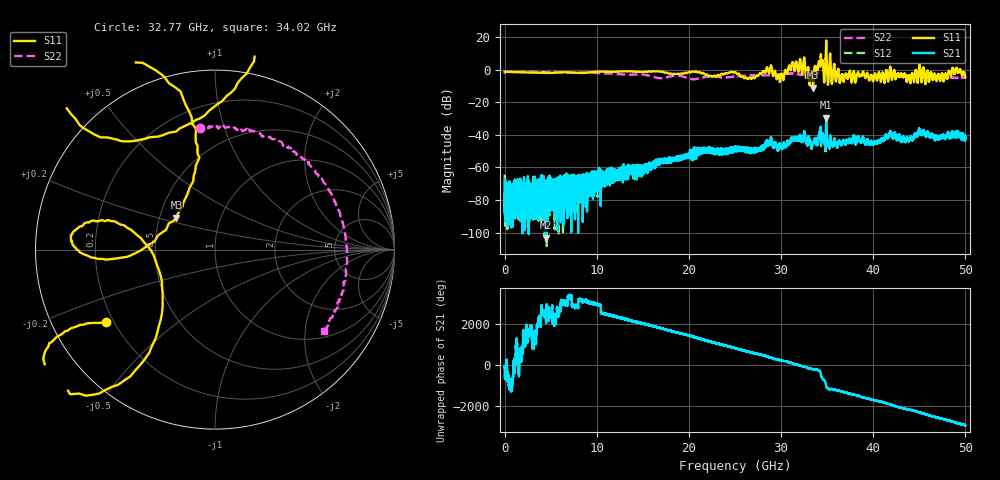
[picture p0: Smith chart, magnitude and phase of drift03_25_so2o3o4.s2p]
!Created with skrf (http://scikit-rf.org).
# Hz S RI R 50.0
!freq ReS11 ImS11 ReS21 ImS21 ReS12 ImS12 ReS22 ImS22
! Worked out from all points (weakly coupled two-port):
!   10001 points, 300 kHz to 50 GHz, reference 50 ohm
!   highest |S21| = -29.55 dB at 34.9 GHz (marker M1); lowest = -103.0 dB at 4.48 GHz (marker M2)
!   lowest |S11| = -11.1 dB at 33.47 GHz (marker M3), VSWR 1.77, Z = 30.6 + j11.8 ohm
!   |S11| at or under -10 dB: 33.44812 GHz to 33.48473 GHz (36.62 MHz wide, 0.109 % of centre)
!   |S22| runs from -5.9 to -1.3 dB; largest |S21 - S12| = 0.0077
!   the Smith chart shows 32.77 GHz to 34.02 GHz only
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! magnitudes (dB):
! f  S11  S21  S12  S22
! 300 kHz  -1.3  -68.9  -64.2  -2.0
! 265.3 MHz  -1.3  -84.4  -84.5  -1.4
! 4.48 GHz  -2.1  -103.0  -80.9  -1.6
! 8.335 GHz  -2.2  -72.0  -68.8  -1.9
! 16.67 GHz  -1.1  -55.9  -56.7  -5.2
! 25 GHz  -1.5  -47.8  -47.8  -4.2
! 26.92 GHz  -4.9  -50.2  -50.5  -3.6
! 28.73 GHz  -2.2  -45.1  -45.7  -3.5
! 30.06 GHz  -2.5  -48.2  -47.5  -2.8
! 31.87 GHz  -1.4  -42.6  -41.8  -2.9
! 33.34 GHz  -2.1  -48.6  -47.3  -2.9
! 33.47 GHz  -11.1  -44.6  -45.6  -2.8
! 34.3 GHz  7.4  -35.4  -35.2  -2.4
! 34.9 GHz  17.8  -29.6  -31.4  -2.4
! 36.58 GHz  -3.3  -45.8  -45.7  -3.6
! 40.17 GHz  -2.6  -44.7  -44.0  -3.7
! 41.67 GHz  -5.6  -40.5  -40.8  -3.8
! 43.68 GHz  -6.7  -42.2  -42.2  -3.9
! 45.22 GHz  -6.8  -39.4  -38.9  -4.6
! 47.07 GHz  -2.9  -41.4  -42.4  -5.1
! 49.21 GHz  -1.8  -39.7  -39.7  -5.2
! 50 GHz  -4.7  -42.1  -42.2  -5.0
